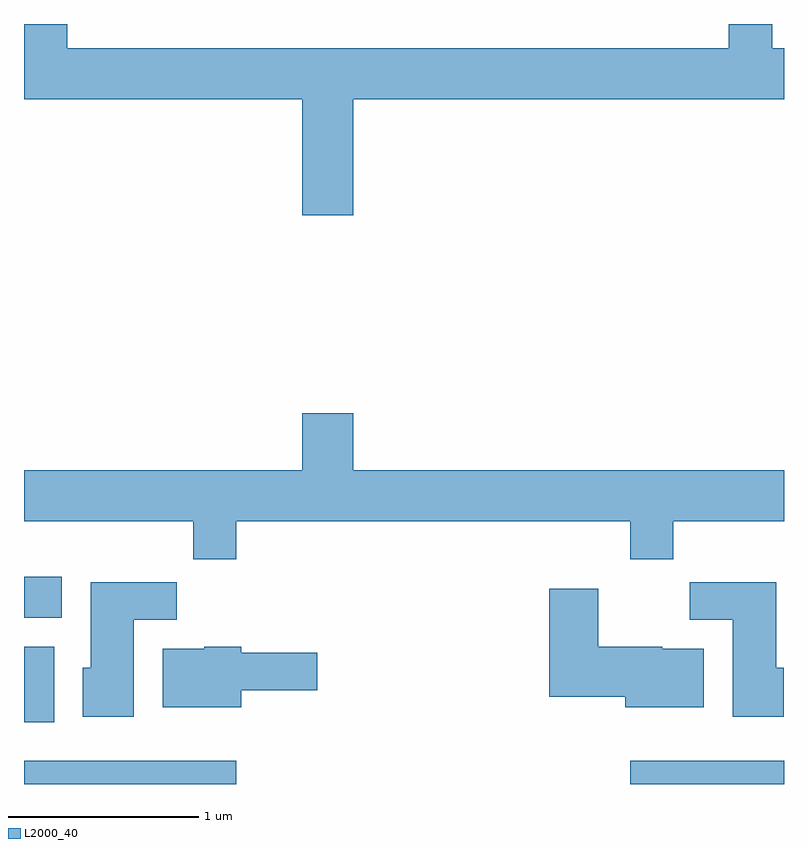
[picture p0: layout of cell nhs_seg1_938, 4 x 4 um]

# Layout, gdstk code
import gdstk
lib = gdstk.Library(unit=1e-6, precision=1e-09)
def R(c, l, rs):  # rectangles x0, y0, x1, y1
    for r in rs: c.add(gdstk.rectangle(r[:2], r[2:], *l))
def P(c, l, *ps):  # polygons
    for p in ps: c.add(gdstk.Polygon(p, *l))
L2000_40 = (2000, 40)

nhs_seg1_938 = lib.new_cell('nhs_seg1_938')
R(nhs_seg1_938, L2000_40, [(213.611,933.712,214.729,933.834), (216.801,933.712,217.611,933.834), (213.611,934.036,213.769,934.434), (213.611,934.586,213.809,934.804)])
P(nhs_seg1_938, L2000_40, [(213.839,937.712),(213.611,937.712),(213.611,937.316),(215.076,937.316),(215.076,936.706),(215.344,936.706),(215.344,937.316),(217.611,937.316),(217.611,937.584),(217.549,937.584),(217.549,937.712),(217.321,937.712),(217.321,937.584),(213.839,937.584)],
  [(214.729,935.096),(216.801,935.096),(216.801,934.896),(217.029,934.896),(217.029,935.096),(217.611,935.096),(217.611,935.364),(215.344,935.364),(215.344,935.664),(215.076,935.664),(215.076,935.364),(213.611,935.364),(213.611,935.096),(214.501,935.096),(214.501,934.896),(214.729,934.896)],
  [(214.189,934.576),(214.414,934.576),(214.414,934.774),(213.961,934.774),(213.961,934.324),(213.921,934.324),(213.921,934.066),(214.189,934.066)],
  [(217.609,934.324),(217.569,934.324),(217.569,934.774),(217.116,934.774),(217.116,934.576),(217.341,934.576),(217.341,934.066),(217.609,934.066)],
  [(217.189,934.424),(216.97,934.424),(216.97,934.434),(216.634,934.434),(216.634,934.739),(216.376,934.739),(216.376,934.171),(216.776,934.171),(216.776,934.116),(217.189,934.116)],
  [(214.754,934.206),(215.154,934.206),(215.154,934.404),(214.754,934.404),(214.754,934.434),(214.56,934.434),(214.56,934.424),(214.341,934.424),(214.341,934.116),(214.754,934.116)])

lib.write_gds('nhs_seg1_938.gds')
